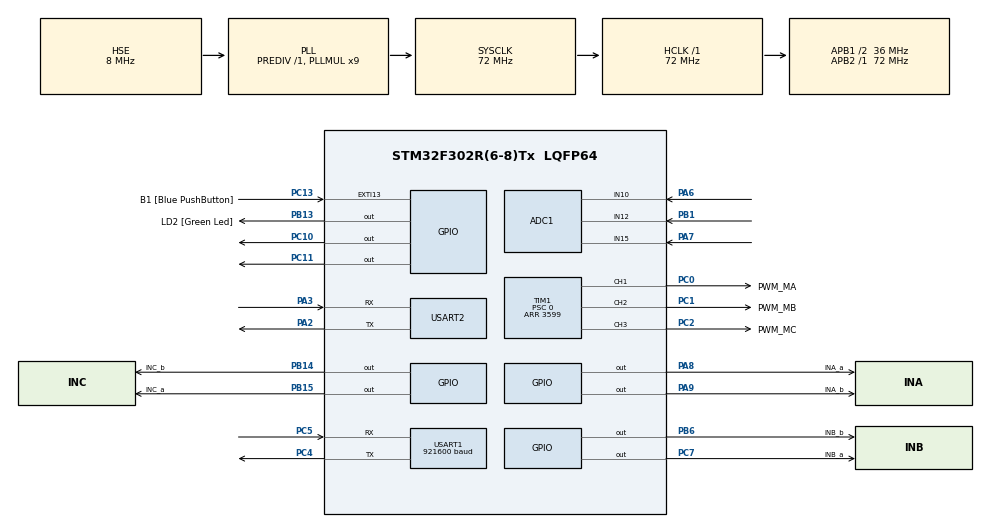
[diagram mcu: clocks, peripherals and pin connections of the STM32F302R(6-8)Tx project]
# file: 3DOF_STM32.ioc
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ADC1.Channel-5\#ChannelRegularConversion=ADC_CHANNEL_12
ADC1.NbrOfConversionFlag=1
ADC1.Offset-5\#ChannelRegularConversion=0
ADC1.OffsetNumber-5\#ChannelRegularConversion=ADC_OFFSET_NONE
ADC1.Rank-5\#ChannelRegularConversion=1
ADC1.SamplingTime-5\#ChannelRegularConversion=ADC_SAMPLETIME_1CYCLE_5
ADC1.SubFamily=STM32F302x8
ADC1.master=1
Dma.Request0=USART1_RX
Dma.USART1_RX.0.Direction=DMA_PERIPH_TO_MEMORY
Dma.USART1_RX.0.Instance=DMA1_Channel5
Dma.USART1_RX.0.MemDataAlignment=DMA_MDATAALIGN_BYTE
Dma.USART1_RX.0.MemInc=DMA_MINC_ENABLE
Dma.USART1_RX.0.Mode=DMA_NORMAL
Dma.USART1_RX.0.PeriphDataAlignment=DMA_PDATAALIGN_BYTE
Dma.USART1_RX.0.PeriphInc=DMA_PINC_DISABLE
Dma.USART1_RX.0.Priority=DMA_PRIORITY_LOW
Mcu.Family=STM32F3
Mcu.Name=STM32F302R(6-8)Tx
Mcu.Package=LQFP64
NVIC.DMA1_Channel5_IRQn=true\:0\:0\:false\:false\:true\:false\:true\:true
NVIC.PriorityGroup=NVIC_PRIORITYGROUP_4
NVIC.TIM2_IRQn=true\:0\:0\:false\:false\:true\:true\:true\:true
PA13.GPIO_Label=TMS
PA13.Mode=Serial_Wire
PA13.Signal=SYS_JTMS-SWDIO
PA14.GPIO_Label=TCK
PA14.Mode=Serial_Wire
PA14.Signal=SYS_JTCK-SWCLK
PA2.GPIO_Mode=GPIO_MODE_AF_PP
PA2.GPIO_ModeDefaultPP=GPIO_MODE_AF_PP
PA2.GPIO_PuPd=GPIO_NOPULL
PA2.GPIO_Speed=GPIO_SPEED_FREQ_HIGH
PA2.Mode=Asynchronous
PA2.Signal=USART2_TX
PA3.GPIO_Mode=GPIO_MODE_AF_PP
PA3.GPIO_ModeDefaultPP=GPIO_MODE_AF_PP
PA3.GPIO_PuPd=GPIO_NOPULL
PA3.GPIO_Speed=GPIO_SPEED_FREQ_HIGH
PA3.Mode=Asynchronous
PA3.Signal=USART2_RX
PA6.Signal=ADCx_IN10
PA7.Mode=IN15-Single-Ended
PA7.Signal=ADC1_IN15
PA8.GPIO_Label=INA_a
PA8.Signal=GPIO_Output
PA9.GPIO_Label=INA_b
PA9.Signal=GPIO_Output
PB1.Mode=IN12-Single-Ended
PB1.Signal=ADC1_IN12
PB13.GPIO_Label=LD2 [Green Led]
PB13.Signal=GPIO_Output
PB14.GPIO_Label=INC_b
PB14.Signal=GPIO_Output
PB15.GPIO_Label=INC_a
PB15.Signal=GPIO_Output
PB3.GPIO_Label=SWO
PB3.Mode=Trace_Asynchronous_SW
PB3.Signal=SYS_JTDO-TRACESWO
PB6.GPIO_Label=INB_b
PB6.Signal=GPIO_Output
PC0.GPIO_Label=PWM_MA
PC0.Signal=S_TIM1_CH1
PC1.GPIO_Label=PWM_MB
PC1.Signal=S_TIM1_CH2
PC10.Signal=GPIO_Output
PC11.Signal=GPIO_Output
PC13.GPIO_Label=B1 [Blue PushButton]
PC13.GPIO_ModeDefaultEXTI=GPIO_MODE_IT_FALLING
PC13.Signal=GPXTI13
PC14\ -\ OSC32_IN.Mode=LSE-External-Oscillator
PC14\ -\ OSC32_IN.Signal=RCC_OSC32_IN
PC15\ -\ OSC32_OUT.Mode=LSE-External-Oscillator
PC15\ -\ OSC32_OUT.Signal=RCC_OSC32_OUT
PC2.GPIO_Label=PWM_MC
PC2.Signal=S_TIM1_CH3
PC4.Mode=Asynchronous
PC4.Signal=USART1_TX
PC5.Mode=Asynchronous
PC5.Signal=USART1_RX
PC7.GPIO_Label=INB_a
PC7.Signal=GPIO_Output
PF0-OSC_IN.Mode=HSE-External-Clock-Source
PF0-OSC_IN.Signal=RCC_OSC_IN
PF1-OSC_OUT.Signal=RCC_OSC_OUT
ProjectManager.HeapSize=0x200
ProjectManager.StackSize=0x400
ProjectManager.TargetToolchain=CMake
RCC.AHBFreq_Value=72000000
RCC.APB1CLKDivider=RCC_HCLK_DIV2
RCC.APB1Freq_Value=36000000
RCC.APB1TimFreq_Value=72000000
RCC.APB2Freq_Value=72000000
RCC.APB2TimFreq_Value=72000000
RCC.CortexFreq_Value=72000000
RCC.HCLKFreq_Value=72000000
RCC.HSE_VALUE=8000000
RCC.HSI_VALUE=8000000
RCC.PLLM=8
RCC.PLLMUL=RCC_PLL_MUL9
RCC.PLLN=336
RCC.PLLP=RCC_PLLP_DIV4
RCC.PLLQ=7
RCC.PLLSourceVirtual=RCC_PLLSOURCE_HSE
RCC.SYSCLKFreq_VALUE=72000000
RCC.SYSCLKSourceVirtual=RCC_SYSCLKSOURCE_PLLCLK
RCC.USBFreq_Value=72000000
SH.ADCx_IN10.0=ADC1_IN10,IN10-Single-Ended
SH.S_TIM1_CH1.0=TIM1_CH1,PWM Generation1 CH1
SH.S_TIM1_CH2.0=TIM1_CH2,PWM Generation2 CH2
SH.S_TIM1_CH3.0=TIM1_CH3,PWM Generation3 CH3
TIM1.AutoReloadPreload=TIM_AUTORELOAD_PRELOAD_DISABLE
TIM1.Channel-PWM\ Generation1\ CH1=TIM_CHANNEL_1
TIM1.Channel-PWM\ Generation2\ CH2=TIM_CHANNEL_2
TIM1.Channel-PWM\ Generation3\ CH3=TIM_CHANNEL_3
TIM1.Period=3599
TIM1.Prescaler=0
TIM2.AutoReloadPreload=TIM_AUTORELOAD_PRELOAD_ENABLE
TIM2.Period=999
TIM2.Prescaler=72-1
USART1.BaudRate=921600
USART1.VirtualMode-Asynchronous=VM_ASYNC
USART2.VirtualMode-Asynchronous=VM_ASYNC
VP_TIM1_VS_ClockSourceINT.Mode=Internal
VP_TIM2_VS_ClockSourceINT.Mode=Internal
board=NUCLEO-F302R8

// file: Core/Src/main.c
/* USER CODE BEGIN Header */
/**
 ******************************************************************************
 * @file           : main.c
 * @brief          : Main program body
 ******************************************************************************
 * @attention
 *
 * Copyright (c) 2026 STMicroelectronics.
 * All rights reserved.
 *
 * This software is licensed under terms that can be found in the LICENSE file
 * in the root directory of this software component.
 * If no LICENSE file comes with this software, it is provided AS-IS.
 *
 ******************************************************************************
 */
/* USER CODE END Header */
#include "main.h"
#include "adc.h"
#include "dma.h"
#include "gpio.h"
#include "stm32f302x8.h"
#include "stm32f3xx_hal_dma.h"
#include "tim.h"
#include "usart.h"

/* USER CODE BEGIN Includes */
#include "string.h"

/* TIM2 masterclock,TIM1 PWMs, USART2 communication*/

/* USER CODE END Includes */

/* USER CODE BEGIN PTD */
typedef struct {
  float Kp;          // factor proporcional
  float Ki;          // factor integral
  float Kd;          // factor  derivativo
  float error;       // error
  int32_t threshold; // banda muerta (evitara las vibraciones cuando el error
                     // sea menor al umbral)
  uint32_t pwm_min;  // pwm minimo para romper la inercia y friccion estatica
  uint32_t
      pwm_max; // evitara que el motor toque limites fisicos a maxima potencia
  int32_t top_limit;    // limitando el giro hacia posicion positiva para que no
                        // toque los limimites fisicos
  int32_t botton_limit; // limitando el giro hacia posicion negativa para que no
                        // toque los limimites fisicos
  int32_t anti_windup;  // evitara el windup del integrador
} Config_Pid_t;

typedef struct {
  int32_t position; // posicion actual del motor
  int32_t setpoint; // posicion deseada del motor
  float Kp;         // factor proporcional
  float Ki;         // factor integral
  float Kd;         // factor derivativo
  int32_t output;   // valor de salida del PID (pwm)

} MotorHandle_typedf_t;

/* USER CODE END PTD */

/* USER CODE BEGIN PV */
uint8_t flag_execute_pid = 0; // bandera para ejecutar el PID en el timer
uint16_t Num_motors_values_received =
    0; // contador de los valores recibidos por UART, mimimo 6 valores para
       // ejecutar el PID
uint8_t uart1_rx_buffer[9]; // buffer de recepcion para USART1
uint16_t rx_buffer_size;
uint8_t snapshot[9];

/* USER CODE END PV */

void SystemClock_Config(void);

int main(void) {

  /* MCU Configuration--------------------------------------------------------*/

  /* Reset of all peripherals, Initializes the Flash interface and the Systick.
   */
  HAL_Init();

  /* Configure the system clock */
  SystemClock_Config();

  /* Initialize all configured peripherals */
  MX_GPIO_Init();
  MX_DMA_Init();
  MX_ADC1_Init();
  MX_TIM2_Init();
  MX_USART2_UART_Init();
  MX_TIM1_Init();
  MX_USART1_UART_Init();
  /* USER CODE BEGIN 2 */
  rx_buffer_size = sizeof(uart1_rx_buffer);
  HAL_UARTEx_ReceiveToIdle_DMA(&huart1, uart1_rx_buffer,
                               sizeof(uart1_rx_buffer));
  HAL_TIM_PWM_Init(&htim1);
  __HAL_TIM_SET_COMPARE(&htim1, TIM_CHANNEL_1, 0);
  __HAL_TIM_SET_COMPARE(&htim1, TIM_CHANNEL_2, 0);
  __HAL_TIM_SET_COMPARE(&htim1, TIM_CHANNEL_3, 0);
  HAL_GPIO_WritePin(INA_a_GPIO_Port, INA_a_Pin, GPIO_PIN_RESET);
  HAL_GPIO_WritePin(INA_b_GPIO_Port, INA_b_Pin, GPIO_PIN_RESET);
  HAL_GPIO_WritePin(INB_a_GPIO_Port, INB_a_Pin, GPIO_PIN_RESET);
  HAL_GPIO_WritePin(INB_b_GPIO_Port, INB_b_Pin, GPIO_PIN_RESET);
  HAL_GPIO_WritePin(INC_a_GPIO_Port, INC_a_Pin, GPIO_PIN_RESET);
  HAL_GPIO_WritePin(INC_b_GPIO_Port, INC_b_Pin, GPIO_PIN_RESET);

  /* USER CODE END 2 */

  /* Infinite loop */
  while (1) {
    switch (Num_motors_values_received) {
    case 2: { //caso de 2DOF
    }
    case 3: { // caso de 3DOF
    }
    default: {
      /*error handle*/
    }
    }

  }
}

void SystemClock_Config(void) {
  RCC_OscInitTypeDef RCC_OscInitStruct = {0};
  RCC_ClkInitTypeDef RCC_ClkInitStruct = {0};
  RCC_PeriphCLKInitTypeDef PeriphClkInit = {0};

  /** Initializes the RCC Oscillators according to the specified parameters
   * in the RCC_OscInitTypeDef structure.
   */
  RCC_OscInitStruct.OscillatorType = RCC_OSCILLATORTYPE_HSE;
  RCC_OscInitStruct.HSEState = RCC_HSE_BYPASS;
  RCC_OscInitStruct.HSEPredivValue = RCC_HSE_PREDIV_DIV1;
  RCC_OscInitStruct.HSIState = RCC_HSI_ON;
  RCC_OscInitStruct.PLL.PLLState = RCC_PLL_ON;
  RCC_OscInitStruct.PLL.PLLSource = RCC_PLLSOURCE_HSE;
  RCC_OscInitStruct.PLL.PLLMUL = RCC_PLL_MUL9;
  if (HAL_RCC_OscConfig(&RCC_OscInitStruct) != HAL_OK) {
    Error_Handler();
  }

  /** Initializes the CPU, AHB and APB buses clocks
   */
  RCC_ClkInitStruct.ClockType = RCC_CLOCKTYPE_HCLK | RCC_CLOCKTYPE_SYSCLK |
                                RCC_CLOCKTYPE_PCLK1 | RCC_CLOCKTYPE_PCLK2;
  RCC_ClkInitStruct.SYSCLKSource = RCC_SYSCLKSOURCE_PLLCLK;
  RCC_ClkInitStruct.AHBCLKDivider = RCC_SYSCLK_DIV1;
  RCC_ClkInitStruct.APB1CLKDivider = RCC_HCLK_DIV2;
  RCC_ClkInitStruct.APB2CLKDivider = RCC_HCLK_DIV1;

  if (HAL_RCC_ClockConfig(&RCC_ClkInitStruct, FLASH_LATENCY_2) != HAL_OK) {
    Error_Handler();
  }
  PeriphClkInit.PeriphClockSelection =
      RCC_PERIPHCLK_USART1 | RCC_PERIPHCLK_TIM1 | RCC_PERIPHCLK_ADC1;
  PeriphClkInit.Usart1ClockSelection = RCC_USART1CLKSOURCE_PCLK1;
  PeriphClkInit.Tim1ClockSelection = RCC_TIM1CLK_HCLK;
  PeriphClkInit.Adc1ClockSelection = RCC_ADC1PLLCLK_DIV1;

  if (HAL_RCCEx_PeriphCLKConfig(&PeriphClkInit) != HAL_OK) {
    Error_Handler();
  }
}

/* USER CODE BEGIN 4 */

/*################ master clock############################*/
void HAL_TIM_PeriodElapsedCallback(TIM_HandleTypeDef *htim) {
  if (htim->Instance == TIM2) {
    // Handle TIM1 period elapsed event
  }
}

/*################ data receive ############################*/
void HAL_UARTEx_RxEventCallback(UART_HandleTypeDef *huart, uint16_t Size) {
  if (huart->Instance == USART1) {
    memcpy(snapshot, uart1_rx_buffer, rx_buffer_size);
    Num_motors_values_received = Size/3;
    flag_execute_pid = 1;
    HAL_UARTEx_ReceiveToIdle_DMA(&huart1, uart1_rx_buffer, rx_buffer_size);
    __HAL_DMA_DISABLE_IT(huart1.hdmarx,DMA_IT_HT);
  }

  // Handle USART1 receive complete event
}
/* USER CODE END 4 */

void Error_Handler(void) {
  __disable_irq();
  while (1) {
  }
}
#ifdef USE_FULL_ASSERT
/**
 * @brief  Reports the name of the source file and the source line number
 *         where the assert_param error has occurred.
 * @param  file: pointer to the source file name
 * @param  line: assert_param error line source number
 * @retval None
 */
void assert_failed(uint8_t *file, uint32_t line) {
  /* USER CODE BEGIN 6 */
  /* User can add his own implementation to report the file name and line
     number, ex: printf("Wrong parameters value: file %s on line %d\r\n", file,
     line) */
  /* USER CODE END 6 */
}
#endif /* USE_FULL_ASSERT */
